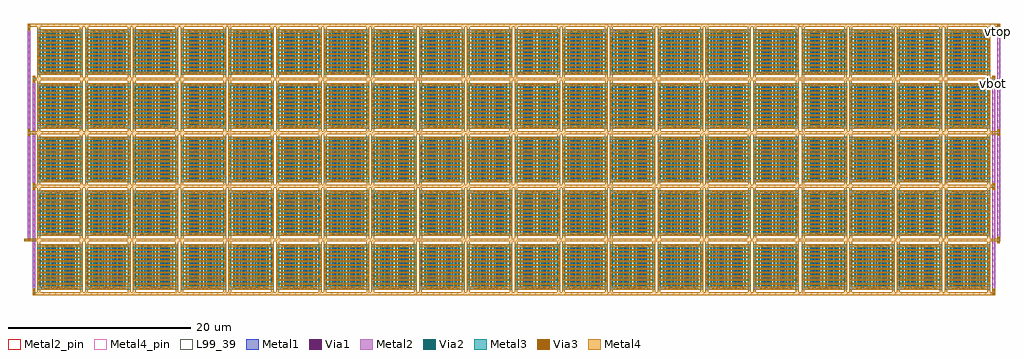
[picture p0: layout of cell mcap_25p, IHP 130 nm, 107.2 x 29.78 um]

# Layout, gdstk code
from math import pi, radians
import gdstk
lib = gdstk.Library(unit=1e-6, precision=1e-09)
def R(c, l, rs):  # rectangles x0, y0, x1, y1
    for r in rs: c.add(gdstk.rectangle(r[:2], r[2:], *l))
def A(c, l, x, y, w, h, nx, ny, dx, dy):  # array of equal rectangles
    R(c, l, [(x+i*dx, y+j*dy, x+i*dx+w, y+j*dy+h) for i in range(nx) for j in range(ny)])
Metal1 = (8, 0)
Metal2 = (10, 0)
Metal2_pin = (10, 2)
Via1 = (19, 0)
Via2 = (29, 0)
Metal3 = (30, 0)
Via3 = (49, 0)
Metal4 = (50, 0)
Metal4_pin = (50, 2)
L99_39 = (99, 39)

cap_mfringe = lib.new_cell('cap_mfringe')
A(cap_mfringe, Metal1, 0.55, 0, 0.16, 4.61, 6, 1, 0.68, 0)
A(cap_mfringe, Metal1, 0.89, 0.39, 0.16, 4.61, 6, 1, 0.68, 0)
R(cap_mfringe, Metal1, [(0,0,0.33,5), (0,0,4.45,0.21), (4.67,0,5,5), (0.55,4.79,5,5)])
A(cap_mfringe, Metal2, 0.42, 0.555, 4.58, 0.2, 1, 5, 0, 0.82)
A(cap_mfringe, Metal2, 0, 0.965, 4.58, 0.2, 1, 5, 0, 0.82)
R(cap_mfringe, Metal2, [(0,0,5,0.345), (0,0,0.205,4.445), (4.795,0.555,5,5), (0,4.655,5,5)])
A(cap_mfringe, Via1, 0.765, 0.01, 0.19, 0.19, 9, 1, 0.41, 0)
A(cap_mfringe, Via1, 0.01, 0.665, 0.19, 0.19, 1, 9, 0, 0.41)
A(cap_mfringe, Via1, 4.8, 0.865, 0.19, 0.19, 1, 9, 0, 0.41)
A(cap_mfringe, Via1, 0.865, 4.8, 0.19, 0.19, 9, 1, 0.41, 0)
A(cap_mfringe, Via2, 0.765, 0.005, 0.19, 0.19, 9, 1, 0.41, 0)
A(cap_mfringe, Via2, 0.005, 0.665, 0.19, 0.19, 1, 9, 0, 0.41)
A(cap_mfringe, Via2, 4.805, 0.865, 0.19, 0.19, 1, 9, 0, 0.41)
A(cap_mfringe, Via2, 0.865, 4.805, 0.19, 0.19, 9, 1, 0.41, 0)
A(cap_mfringe, Metal3, 0.555, 0, 0.2, 4.59, 5, 1, 0.82, 0)
A(cap_mfringe, Metal3, 0.965, 0.41, 0.2, 4.59, 5, 1, 0.82, 0)
R(cap_mfringe, Metal3, [(0,0,0.345,5), (0,0,4.445,0.2), (4.655,0,5,5), (0.555,4.8,5,5)])
A(cap_mfringe, Via3, 0.765, 0.005, 0.19, 0.19, 9, 1, 0.41, 0)
A(cap_mfringe, Via3, 0.005, 0.665, 0.19, 0.19, 1, 9, 0, 0.41)
A(cap_mfringe, Via3, 4.805, 0.865, 0.19, 0.19, 1, 9, 0, 0.41)
A(cap_mfringe, Via3, 0.865, 4.805, 0.19, 0.19, 9, 1, 0.41, 0)
A(cap_mfringe, Metal4, 0.41, 0.555, 4.59, 0.2, 1, 5, 0, 0.82)
A(cap_mfringe, Metal4, 0, 0.965, 4.59, 0.2, 1, 5, 0, 0.82)
R(cap_mfringe, Metal4, [(0,0,5,0.345), (0,0,0.2,4.445), (4.8,0.555,5,5), (0,4.655,5,5)])
R(cap_mfringe, Metal4_pin, [(0,2.4,0.2,2.6), (2.4,4.8,2.6,5)])
R(cap_mfringe, L99_39, [(0,0,5,5)])
cap_mfringe.add(gdstk.Label('cap_mfringe C=58.000fF', (0,-0.5), layer=63, texttype=0))

cap5ux5u = lib.new_cell('cap5ux5u')
R(cap5ux5u, Metal4_pin, [(0,0.02,0.2,0.32), (4.8,4.68,5,4.98)])
cap5ux5u.add(gdstk.Reference(cap_mfringe, (0,0)))
cap5ux5u.add(gdstk.Label('bot', (0.1,0.17), layer=50, texttype=25))
cap5ux5u.add(gdstk.Label('top', (4.9,4.83), layer=50, texttype=25))

cap20ux20u = lib.new_cell('cap20ux20u')
R(cap20ux20u, Metal4_pin, [(20.72,-0.6,21.22,-0.3), (20.72,5.295,21.22,5.595)])
cap20ux20u.add(gdstk.FlexPath([(-0.5,5.445),(21.22,5.445)], 0.3, ends="flush", simple_path=True, layer=50, datatype=0))  # Metal4
cap20ux20u.add(gdstk.FlexPath([(15.315,4.655),(15.315,5.595)], 0.33, ends="flush", simple_path=True, layer=50, datatype=0))  # Metal4
cap20ux20u.add(gdstk.FlexPath([(10.645,4.655),(10.645,5.595)], 0.33, ends="flush", simple_path=True, layer=50, datatype=0))  # Metal4
cap20ux20u.add(gdstk.FlexPath([(20.555,4.655),(20.555,5.595)], 0.33, ends="flush", simple_path=True, layer=50, datatype=0))  # Metal4
cap20ux20u.add(gdstk.FlexPath([(4.835,4.655),(4.835,5.595)], 0.33, ends="flush", simple_path=True, layer=50, datatype=0))  # Metal4
cap20ux20u.add(gdstk.FlexPath([(0.165,4.655),(0.165,5.595)], 0.33, ends="flush", simple_path=True, layer=50, datatype=0))  # Metal4
cap20ux20u.add(gdstk.FlexPath([(10.075,4.655),(10.075,5.595)], 0.33, ends="flush", simple_path=True, layer=50, datatype=0))  # Metal4
cap20ux20u.add(gdstk.FlexPath([(5.405,4.655),(5.405,5.595)], 0.33, ends="flush", simple_path=True, layer=50, datatype=0))  # Metal4
cap20ux20u.add(gdstk.FlexPath([(15.885,4.655),(15.885,5.595)], 0.33, ends="flush", simple_path=True, layer=50, datatype=0))  # Metal4
cap20ux20u.add(gdstk.FlexPath([(-0.5,-0.45),(21.22,-0.45)], 0.3, ends="flush", simple_path=True, layer=50, datatype=0))  # Metal4
cap20ux20u.add(gdstk.FlexPath([(0.15,0.345),(0.15,-0.515),(0.15,-0.6)], 0.3, ends="flush", simple_path=True, layer=50, datatype=0))  # Metal4
cap20ux20u.add(gdstk.FlexPath([(4.845,0.345),(4.845,-0.515),(4.845,-0.6)], 0.3, ends="flush", simple_path=True, layer=50, datatype=0))  # Metal4
cap20ux20u.add(gdstk.FlexPath([(5.39,0.345),(5.39,-0.395),(5.39,-0.6)], 0.3, ends="flush", simple_path=True, layer=50, datatype=0))  # Metal4
cap20ux20u.add(gdstk.FlexPath([(10.09,0.345),(10.09,-0.52),(10.09,-0.6)], 0.3, ends="flush", simple_path=True, layer=50, datatype=0))  # Metal4
cap20ux20u.add(gdstk.FlexPath([(10.63,0.345),(10.63,-0.565),(10.63,-0.6)], 0.3, ends="flush", simple_path=True, layer=50, datatype=0))  # Metal4
cap20ux20u.add(gdstk.FlexPath([(15.33,0.345),(15.33,-0.565),(15.33,-0.6)], 0.3, ends="flush", simple_path=True, layer=50, datatype=0))  # Metal4
cap20ux20u.add(gdstk.FlexPath([(15.87,0.345),(15.87,-0.56),(15.87,-0.6)], 0.3, ends="flush", simple_path=True, layer=50, datatype=0))  # Metal4
cap20ux20u.add(gdstk.FlexPath([(20.57,0.345),(20.57,-0.6)], 0.3, ends="flush", simple_path=True, layer=50, datatype=0))  # Metal4
cap20ux20u.add(gdstk.Reference(cap5ux5u, (0,0)))
cap20ux20u.add(gdstk.Reference(cap5ux5u, (5.24,0)))
cap20ux20u.add(gdstk.Reference(cap5ux5u, (15.72,0)))
cap20ux20u.add(gdstk.Reference(cap5ux5u, (10.48,0)))
cap20ux20u.add(gdstk.Label('top', (20.97,5.445), layer=50, texttype=25))
cap20ux20u.add(gdstk.Label('bot', (20.97,-0.55), layer=50, texttype=25))

mcap_5p = lib.new_cell('mcap_5p')
R(mcap_5p, Metal4_pin, [(105.14,0,105.64,0.3), (105.14,5.895,105.64,6.195)])
mcap_5p.add(gdstk.Reference(cap20ux20u, (0.5,0.6)))
mcap_5p.add(gdstk.Reference(cap20ux20u, (21.46,0.6)))
mcap_5p.add(gdstk.Reference(cap20ux20u, (42.42,0.6)))
mcap_5p.add(gdstk.Reference(cap20ux20u, (63.38,0.6)))
mcap_5p.add(gdstk.Reference(cap20ux20u, (84.42,0.6)))
mcap_5p.add(gdstk.Label('vtop', (105.39,6.045), layer=50, texttype=25))
mcap_5p.add(gdstk.Label('vbot', (105.39,0.15), layer=50, texttype=25))

via_stack = lib.new_cell('via_stack')
R(via_stack, Metal2, [(-0.145,-0.35,0.145,0.35)])
R(via_stack, Via2, [(-0.095,-0.3,0.095,-0.11), (-0.095,0.11,0.095,0.3)])
R(via_stack, Metal3, [(-0.145,-0.35,0.145,0.35)])
R(via_stack, Via3, [(-0.095,-0.3,0.095,-0.11), (-0.095,0.11,0.095,0.3)])
R(via_stack, Metal4, [(-0.145,-0.35,0.145,0.35)])

via_stack_1 = lib.new_cell('via_stack$1')
R(via_stack_1, Metal2, [(-0.35,-0.145,0.35,0.145)])
R(via_stack_1, Via2, [(-0.3,-0.095,-0.11,0.095), (0.11,-0.095,0.3,0.095)])
R(via_stack_1, Metal3, [(-0.35,-0.145,0.35,0.145)])
R(via_stack_1, Via3, [(-0.3,-0.095,-0.11,0.095), (0.11,-0.095,0.3,0.095)])
R(via_stack_1, Metal4, [(-0.35,-0.145,0.35,0.145)])

mcap_25p = lib.new_cell('mcap_25p')
R(mcap_25p, Metal2_pin, [(105.38,23.08,105.68,23.38), (105.92,28.775,106.22,29.075)])
mcap_25p.add(gdstk.FlexPath([(-0.43,29.775),(-0.43,5.9)], 0.3, ends="flush", simple_path=True, layer=10, datatype=0))  # Metal2
mcap_25p.add(gdstk.FlexPath([(105.53,23.88),(105.53,0)], 0.3, ends="flush", simple_path=True, layer=10, datatype=0))  # Metal2
mcap_25p.add(gdstk.FlexPath([(106.07,29.775),(106.07,5.895)], 0.3, ends="flush", simple_path=True, layer=10, datatype=0))  # Metal2
mcap_25p.add(gdstk.FlexPath([(0.11,23.88),(0.11,0)], 0.3, ends="flush", simple_path=True, layer=10, datatype=0))  # Metal2
mcap_25p.add(gdstk.FlexPath([(105.64,29.625),(106.22,29.625)], 0.3, ends="flush", simple_path=True, layer=50, datatype=0))  # Metal4
mcap_25p.add(gdstk.FlexPath([(105.64,0.15),(105.68,0.15)], 0.3, ends="flush", simple_path=True, layer=50, datatype=0))  # Metal4
mcap_25p.add(gdstk.FlexPath([(105.64,11.94),(105.68,11.94)], 0.3, ends="flush", simple_path=True, layer=50, datatype=0))  # Metal4
mcap_25p.add(gdstk.FlexPath([(105.64,23.73),(105.68,23.73)], 0.3, ends="flush", simple_path=True, layer=50, datatype=0))  # Metal4
mcap_25p.add(gdstk.FlexPath([(105.64,17.835),(106.22,17.835)], 0.3, ends="flush", simple_path=True, layer=50, datatype=0))  # Metal4
mcap_25p.add(gdstk.FlexPath([(105.64,6.045),(106.22,6.045)], 0.3, ends="flush", simple_path=True, layer=50, datatype=0))  # Metal4
mcap_25p.add(gdstk.FlexPath([(0,29.625),(-0.58,29.625)], 0.3, ends="flush", simple_path=True, layer=50, datatype=0))  # Metal4
mcap_25p.add(gdstk.FlexPath([(0,0.15),(-0.04,0.15)], 0.3, ends="flush", simple_path=True, layer=50, datatype=0))  # Metal4
mcap_25p.add(gdstk.FlexPath([(0,11.94),(-0.04,11.94)], 0.3, ends="flush", simple_path=True, layer=50, datatype=0))  # Metal4
mcap_25p.add(gdstk.FlexPath([(0,23.73),(-0.04,23.73)], 0.3, ends="flush", simple_path=True, layer=50, datatype=0))  # Metal4
mcap_25p.add(gdstk.FlexPath([(0,17.835),(-0.58,17.835)], 0.3, ends="flush", simple_path=True, layer=50, datatype=0))  # Metal4
mcap_25p.add(gdstk.FlexPath([(0,6.045),(-0.58,6.045)], 0.3, ends="flush", simple_path=True, layer=50, datatype=0))  # Metal4
mcap_25p.add(gdstk.Reference(mcap_5p, (0,0)))
mcap_25p.add(gdstk.Reference(mcap_5p, (0,12.09), x_reflection=True))
mcap_25p.add(gdstk.Reference(mcap_5p, (0,11.79)))
mcap_25p.add(gdstk.Reference(mcap_5p, (0,23.88), x_reflection=True))
mcap_25p.add(gdstk.Reference(mcap_5p, (0,23.58)))
mcap_25p.add(gdstk.Reference(via_stack, (106.07,29.425)))
mcap_25p.add(gdstk.Reference(via_stack, (106.07,17.835)))
mcap_25p.add(gdstk.Reference(via_stack, (106.07,6.045)))
mcap_25p.add(gdstk.Reference(via_stack, (105.53,0.35)))
mcap_25p.add(gdstk.Reference(via_stack, (105.53,11.94)))
mcap_25p.add(gdstk.Reference(via_stack, (105.53,23.73)))
mcap_25p.add(gdstk.Reference(via_stack, (-0.43,29.425), rotation=pi, x_reflection=True))
mcap_25p.add(gdstk.Reference(via_stack, (-0.43,17.835), rotation=pi, x_reflection=True))
mcap_25p.add(gdstk.Reference(via_stack_1, (-0.63,6.045), rotation=pi, x_reflection=True))
mcap_25p.add(gdstk.Reference(via_stack, (0.11,0.35), rotation=pi, x_reflection=True))
mcap_25p.add(gdstk.Reference(via_stack, (0.11,11.94), rotation=pi, x_reflection=True))
mcap_25p.add(gdstk.Reference(via_stack, (0.11,23.73), rotation=pi, x_reflection=True))
mcap_25p.add(gdstk.Label('vtop', (106.07,28.925), layer=10, texttype=25))
mcap_25p.add(gdstk.Label('vbot', (105.53,23.23), layer=10, texttype=25))

lib.write_gds('mcap_25p.gds')
